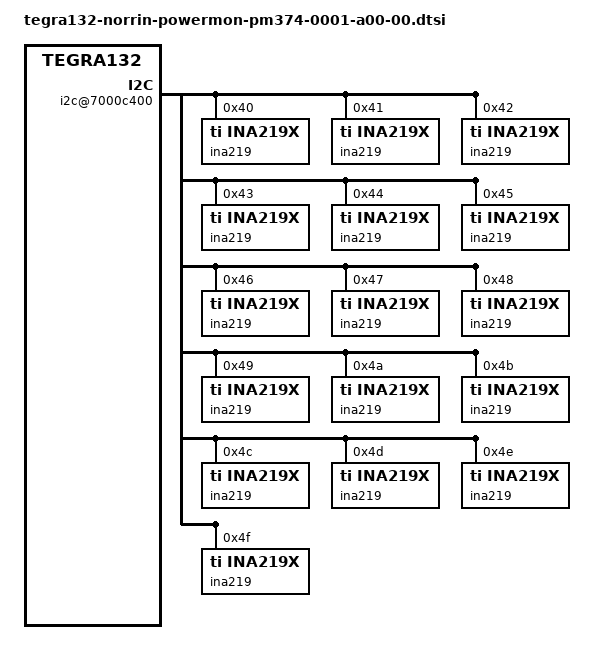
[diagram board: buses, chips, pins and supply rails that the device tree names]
/*
 * Power monitor devices for the PM374-A00
 *
 * Copyright (c) 2014, NVIDIA CORPORATION.  All rights reserved.
 *
 * This program is free software; you can redistribute it and/or modify
 * it under the terms of the GNU General Public License as published by
 * the Free Software Foundation; either version 2 of the License, or
 * (at your option) any later version.
 *
 * This program is distributed in the hope that it will be useful, but WITHOUT
 * ANY WARRANTY; without even the implied warranty of MERCHANTABILITY or
 * FITNESS FOR A PARTICULAR PURPOSE.  See the GNU General Public License for
 * more details.
 */

/ {
	i2c@7000c400 {
		ina219@40{
			compatible = "ti,ina219x";
			reg = <0x40>;
			ti,rail-name = "PMU_MUX";
			ti,continuous-config = <0x0407>;
			ti,trigger-config = <0x0403>;
			ti,shunt-resistor-mohm = <1>;
			ti,calibration-data = <0xFFFE>;
			ti,power-lsb = <12500>;
			ti,divisor = <20>;
			ti,precision-multiplier = <1000>;
		};

		ina219@41{
			compatible = "ti,ina219x";
			reg = <0x41>;
			ti,rail-name = "3.3V_PEX_PLL_AP";
			ti,continuous-config = <0x0407>;
			ti,trigger-config = <0x0403>;
			ti,shunt-resistor-mohm = <500>;
			ti,calibration-data = <0xFFFE>;
			ti,power-lsb = <25>;
			ti,divisor = <20>;
			ti,precision-multiplier = <1000>;
		};

		ina219@42{
			compatible = "ti,ina219x";
			reg = <0x42>;
			ti,rail-name = "3.3V_VDD_USB_AP";
			ti,continuous-config = <0x0407>;
			ti,trigger-config = <0x0403>;
			ti,shunt-resistor-mohm = <500>;
			ti,calibration-data = <0xFFFE>;
			ti,power-lsb = <25>;
			ti,divisor = <20>;
			ti,precision-multiplier = <1000>;
		};

		ina219@43{
			compatible = "ti,ina219x";
			reg = <0x43>;
			ti,rail-name = "1.05V_AVDD_LVDS_AP";
			ti,continuous-config = <0x0407>;
			ti,trigger-config = <0x0403>;
			ti,shunt-resistor-mohm = <500>;
			ti,calibration-data = <0xFFFE>;
			ti,power-lsb = <25>;
			ti,divisor = <20>;
			ti,precision-multiplier = <1000>;
		};

		ina219@44{
			compatible = "ti,ina219x";
			reg = <0x44>;
			ti,rail-name = "1.8V_VDDIO_SYS_AP";
			ti,continuous-config = <0x0407>;
			ti,trigger-config = <0x0403>;
			ti,shunt-resistor-mohm = <500>;
			ti,calibration-data = <0xFFFE>;
			ti,power-lsb = <25>;
			ti,divisor = <20>;
			ti,precision-multiplier = <1000>;
		};

		ina219@45{
			compatible = "ti,ina219x";
			reg = <0x45>;
			ti,rail-name = "VDD_CORE";
			ti,continuous-config = <0x0407>;
			ti,trigger-config = <0x0403>;
			ti,shunt-resistor-mohm = <3>;
			ti,calibration-data = <0xFFFE>;
			ti,power-lsb = <4166>;
			ti,divisor = <20>;
			ti,precision-multiplier = <1000>;
		};

		ina219@46{
			compatible = "ti,ina219x";
			reg = <0x46>;
			ti,rail-name = "VDD_CPU";
			ti,continuous-config = <0x0407>;
			ti,trigger-config = <0x0403>;
			ti,shunt-resistor-mohm = <5>;
			ti,calibration-data = <0xFFFE>;
			ti,power-lsb = <25000>;
			ti,divisor = <20>;
			ti,precision-multiplier = <1000>;
		};

		ina219@47{
			compatible = "ti,ina219x";
			reg = <0x47>;
			ti,rail-name = "3.3V_AVDD_HDMI_AP";
			ti,continuous-config = <0x0407>;
			ti,trigger-config = <0x0403>;
			ti,shunt-resistor-mohm = <100>;
			ti,calibration-data = <0xFFFE>;
			ti,power-lsb = <125>;
			ti,divisor = <20>;
			ti,precision-multiplier = <1000>;
		};

		ina219@48{
			compatible = "ti,ina219x";
			reg = <0x48>;
			ti,rail-name = "1.35_VDDIO_DDR_AP";
			ti,continuous-config = <0x0407>;
			ti,trigger-config = <0x0403>;
			ti,shunt-resistor-mohm = <1>;
			ti,calibration-data = <0xFFFE>;
			ti,power-lsb = <12500>;
			ti,divisor = <20>;
			ti,precision-multiplier = <1000>;
		};

		ina219@49{
			compatible = "ti,ina219x";
			reg = <0x49>;
			ti,rail-name = "1.35_VDDIO_DDR";
			ti,continuous-config = <0x0407>;
			ti,trigger-config = <0x0403>;
			ti,shunt-resistor-mohm = <1>;
			ti,calibration-data = <0xFFFE>;
			ti,power-lsb = <12500>;
			ti,divisor = <20>;
			ti,precision-multiplier = <1000>;
		};

		ina219@4A{
			compatible = "ti,ina219x";
			reg = <0x4A>;
			ti,rail-name = "VDDIO_BB_AP";
			ti,continuous-config = <0x0407>;
			ti,trigger-config = <0x0403>;
			ti,shunt-resistor-mohm = <1000>;
			ti,calibration-data = <0xFFFE>;
			ti,power-lsb = <12>;
			ti,divisor = <20>;
			ti,precision-multiplier = <1000>;
		};

		ina219@4B{
			compatible = "ti,ina219x";
			reg = <0x4B>;
			ti,rail-name = "3.3V_HVDD_SATA_AP";
			ti,continuous-config = <0x0407>;
			ti,trigger-config = <0x0403>;
			ti,shunt-resistor-mohm = <1000>;
			ti,calibration-data = <0xFFFE>;
			ti,power-lsb = <12>;
			ti,divisor = <20>;
			ti,precision-multiplier = <1000>;
		};

		ina219@4C{
			compatible = "ti,ina219x";
			reg = <0x4C>;
			ti,rail-name = "VDD_GPU";
			ti,continuous-config = <0x0407>;
			ti,trigger-config = <0x0403>;
			ti,shunt-resistor-mohm = <1>;
			ti,calibration-data = <0xFFFE>;
			ti,power-lsb = <12500>;
			ti,divisor = <20>;
			ti,precision-multiplier = <1000>;
		};

		ina219@4D{
			compatible = "ti,ina219x";
			reg = <0x4D>;
			ti,rail-name = "1.8V_COM";
			ti,continuous-config = <0x0407>;
			ti,trigger-config = <0x0403>;
			ti,shunt-resistor-mohm = <100>;
			ti,calibration-data = <0xFFFE>;
			ti,power-lsb = <125>;
			ti,divisor = <20>;
			ti,precision-multiplier = <1000>;
		};

		ina219@4E{
			compatible = "ti,ina219x";
			reg = <0x4E>;
			ti,rail-name = "1.05V_AVDDIO_PEX_AP";
			ti,continuous-config = <0x0407>;
			ti,trigger-config = <0x0403>;
			ti,shunt-resistor-mohm = <100>;
			ti,calibration-data = <0x7042>;
			ti,power-lsb = <285>;
			ti,divisor = <20>;
			ti,precision-multiplier = <1000>;
		};

		ina219@4F{
			compatible = "ti,ina219x";
			reg = <0x4F>;
			ti,rail-name = "3.3V_GPS";
			ti,continuous-config = <0x0407>;
			ti,trigger-config = <0x0403>;
			ti,shunt-resistor-mohm = <500>;
			ti,calibration-data = <0xBEA4>;
			ti,power-lsb = <33>;
			ti,divisor = <20>;
			ti,precision-multiplier = <1000>;
		};
	};
};
